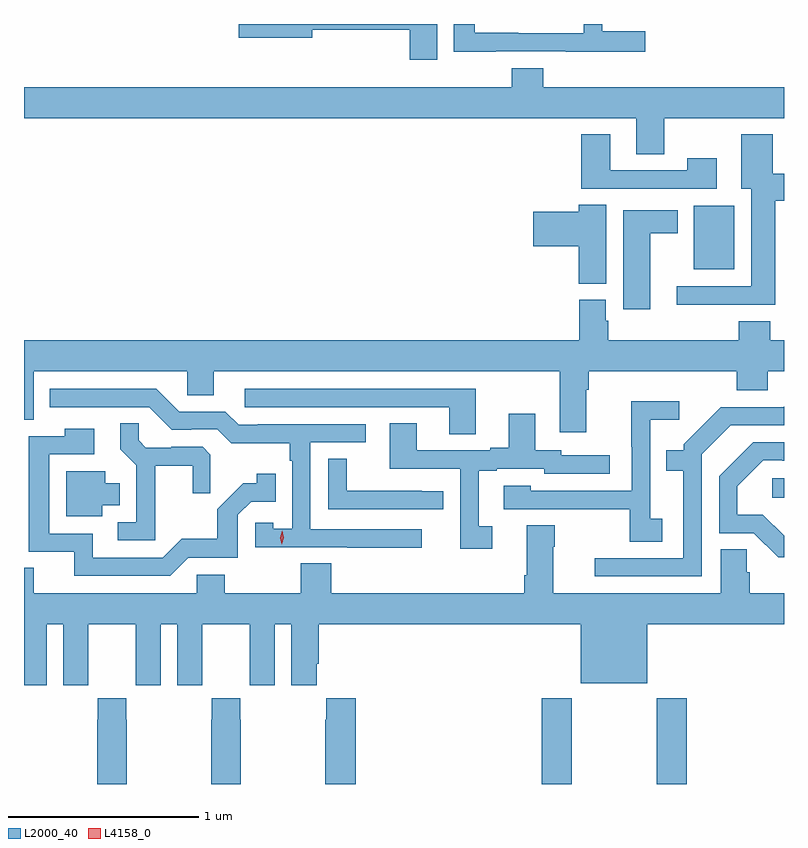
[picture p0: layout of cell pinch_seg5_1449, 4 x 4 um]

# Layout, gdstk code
import gdstk
lib = gdstk.Library(unit=1e-6, precision=1e-09)
def R(c, l, rs):  # rectangles x0, y0, x1, y1
    for r in rs: c.add(gdstk.rectangle(r[:2], r[2:], *l))
def P(c, l, *ps):  # polygons
    for p in ps: c.add(gdstk.Polygon(p, *l))
L2000_40 = (2000, 40)
L4158_0 = (4158, 0)

pinch_seg5_1449 = lib.new_cell('pinch_seg5_1449')
R(pinch_seg5_1449, L2000_40, [(196.901,890.552,197.061,891.004), (197.506,890.552,197.666,891.004), (198.114,892.058,198.177,892.161), (197.702,893.261,197.914,893.596)])
P(pinch_seg5_1449, L2000_40, [(196.351,894.552),(195.306,894.552),(195.306,894.479),(195.694,894.479),(195.694,894.522),(196.208,894.522),(196.208,894.363),(196.351,894.363)],
  [(196.661,894.408),(197.027,894.408),(197.027,894.407),(197.446,894.407),(197.446,894.514),(197.22,894.514),(197.22,894.552),(197.124,894.552),(197.124,894.504),(196.778,894.504),(196.778,894.505),(196.549,894.505),(196.549,894.552),(196.44,894.552),(196.44,894.407),(196.661,894.407)],
  [(197.547,894.056),(198.177,894.056),(198.177,894.22),(196.91,894.22),(196.91,894.319),(196.745,894.319),(196.745,894.22),(194.177,894.22),(194.177,894.056),(197.399,894.056),(197.399,893.866),(197.547,893.866)],
  [(198.131,893.621),(198.177,893.621),(198.177,893.763),(198.118,893.763),(198.118,893.971),(197.951,893.971),(197.951,893.684),(198.005,893.684),(198.005,893.172),(197.613,893.172),(197.613,893.075),(198.131,893.075)],
  [(197.824,893.845),(197.668,893.845),(197.668,893.781),(197.263,893.781),(197.263,893.971),(197.111,893.971),(197.111,893.685),(197.824,893.685)],
  [(197.242,893.6),(197.096,893.6),(197.096,893.564),(196.857,893.564),(196.857,893.381),(197.096,893.381),(197.096,893.185),(197.242,893.185)],
  [(197.473,893.45),(197.617,893.45),(197.617,893.572),(197.33,893.572),(197.33,893.052),(197.473,893.052)],
  [(197.137,892.628),(197.15,892.628),(197.15,892.724),(197.927,892.724),(197.927,892.625),(198.092,892.625),(198.092,892.724),(198.177,892.724),(198.177,892.888),(198.104,892.888),(198.104,892.987),(197.939,892.987),(197.939,892.888),(197.252,892.888),(197.252,892.989),(197.239,892.989),(197.239,893.1),(197.099,893.1),(197.099,892.888),(194.177,892.888),(194.177,892.468),(194.227,892.468),(194.227,892.724),(195.036,892.724),(195.036,892.597),(195.175,892.597),(195.175,892.724),(196.997,892.724),(196.997,892.404),(197.137,892.404)],
  [(196.27,891.894),(195.684,891.894),(195.684,892.35),(195.976,892.35),(195.976,892.446),(195.406,892.446),(195.406,892.443),(195.306,892.443),(195.237,892.512),(194.994,892.512),(194.874,892.632),(194.312,892.632),(194.312,892.536),(194.835,892.536),(194.955,892.416),(195.056,892.416),(195.056,892.419),(195.195,892.419),(195.268,892.346),(195.576,892.346),(195.576,892.253),(195.588,892.253),(195.588,891.895),(195.489,891.895),(195.489,891.927),(195.393,891.927),(195.393,891.798),(195.877,891.798),(195.877,891.796),(196.27,891.796)],
  [(196.555,892.632),(195.339,892.632),(195.339,892.536),(196.415,892.536),(196.415,892.393),(196.555,892.393)],
  [(197.536,891.948),(197.472,891.948),(197.472,892.469),(197.626,892.469),(197.626,892.567),(197.374,892.567),(197.374,892.328),(197.376,892.328),(197.376,892.095),(196.845,892.095),(196.845,892.123),(196.701,892.123),(196.701,891.999),(197.059,891.999),(197.059,891.997),(197.364,891.997),(197.364,891.826),(197.536,891.826)],
  [(197.745,892.287),(197.898,892.44),(198.177,892.44),(198.177,892.538),(198.175,892.538),(198.175,892.536),(197.844,892.536),(197.649,892.341),(197.649,892.309),(197.557,892.309),(197.557,892.2),(197.648,892.2),(197.648,891.741),(197.181,891.741),(197.181,891.645),(197.745,891.645)],
  [(196.642,891.909),(196.57,891.909),(196.57,892.2),(196.666,892.2),(196.666,892.212),(196.914,892.212),(196.914,892.185),(197.26,892.185),(197.26,892.281),(197.004,892.281),(197.004,892.308),(196.867,892.308),(196.867,892.501),(196.727,892.501),(196.727,892.321),(196.631,892.321),(196.631,892.308),(196.243,892.308),(196.243,892.451),(196.103,892.451),(196.103,892.212),(196.473,892.212),(196.473,891.789),(196.642,891.789)],
  [(194.867,892.226),(195.064,892.226),(195.064,892.083),(195.158,892.083),(195.158,892.285),(195.117,892.326),(194.952,892.326),(194.952,892.323),(194.818,892.323),(194.781,892.36),(194.781,892.451),(194.683,892.451),(194.683,892.315),(194.769,892.229),(194.769,891.93),(194.67,891.93),(194.67,891.834),(194.867,891.834)],
  [(195.042,891.744),(195.303,891.744),(195.303,891.969),(195.372,892.038),(195.503,892.038),(195.503,892.186),(195.402,892.186),(195.402,892.136),(195.332,892.136),(195.195,891.998),(195.195,891.843),(195.006,891.843),(194.907,891.744),(194.539,891.744),(194.539,891.87),(194.31,891.87),(194.31,892.287),(194.548,892.287),(194.548,892.423),(194.392,892.423),(194.392,892.383),(194.202,892.383),(194.202,891.774),(194.441,891.774),(194.441,891.648),(194.946,891.648)],
  [(198.177,891.858),(198.065,891.97),(197.932,891.97),(197.932,892.12),(198.069,892.257),(198.169,892.257),(198.169,892.254),(198.177,892.254),(198.177,892.35),(198.014,892.35),(197.835,892.171),(197.835,891.873),(198.018,891.873),(198.146,891.746),(198.177,891.746)],
  [(196.384,892.094),(196.271,892.094),(196.271,892.095),(195.876,892.095),(195.876,892.265),(195.777,892.265),(195.777,891.999),(196.384,891.999)],
  [(194.59,892.019),(194.68,892.019),(194.68,892.135),(194.605,892.135),(194.605,892.198),(194.399,892.198),(194.399,891.962),(194.59,891.962)],
  [(194.296,891.392),(194.384,891.392),(194.384,891.072),(194.514,891.072),(194.514,891.184),(194.515,891.184),(194.515,891.392),(194.765,891.392),(194.765,891.184),(194.766,891.184),(194.766,891.072),(194.896,891.072),(194.896,891.392),(194.984,891.392),(194.984,891.072),(195.114,891.072),(195.114,891.184),(195.115,891.184),(195.115,891.392),(195.365,891.392),(195.365,891.184),(195.366,891.184),(195.366,891.072),(195.496,891.072),(195.496,891.392),(195.584,891.392),(195.584,891.072),(195.718,891.072),(195.718,891.184),(195.728,891.184),(195.728,891.392),(197.108,891.392),(197.108,891.083),(197.458,891.083),(197.458,891.392),(198.177,891.392),(198.177,891.556),(197.996,891.556),(197.996,891.666),(197.981,891.666),(197.981,891.788),(197.843,891.788),(197.843,891.556),(196.963,891.556),(196.963,891.8),(196.971,891.8),(196.971,891.913),(196.823,891.913),(196.823,891.652),(196.811,891.652),(196.811,891.556),(195.794,891.556),(195.794,891.713),(195.634,891.713),(195.634,891.556),(195.234,891.556),(195.234,891.654),(195.087,891.654),(195.087,891.556),(194.227,891.556),(194.227,891.689),(194.177,891.689),(194.177,891.072),(194.296,891.072)],
  [(194.718,890.891),(194.715,890.891),(194.715,891.004),(194.565,891.004),(194.565,890.891),(194.563,890.891),(194.563,890.552),(194.718,890.552)],
  [(195.318,890.891),(195.315,890.891),(195.315,891.004),(195.165,891.004),(195.165,890.891),(195.163,890.891),(195.163,890.552),(195.318,890.552)],
  [(195.923,891.004),(195.769,891.004),(195.769,890.891),(195.763,890.891),(195.763,890.552),(195.923,890.552)])
P(pinch_seg5_1449, L4158_0, [(195.534,891.813),(195.534,891.814),(195.525,891.849),(195.535,891.885),(195.536,891.885),(195.536,891.885),(195.545,891.849),(195.534,891.814)])

lib.write_gds('pinch_seg5_1449.gds')
